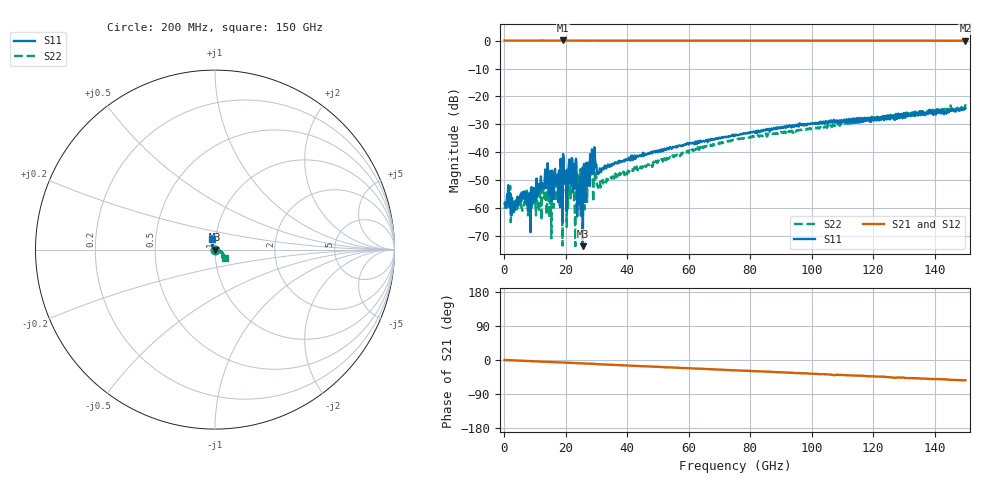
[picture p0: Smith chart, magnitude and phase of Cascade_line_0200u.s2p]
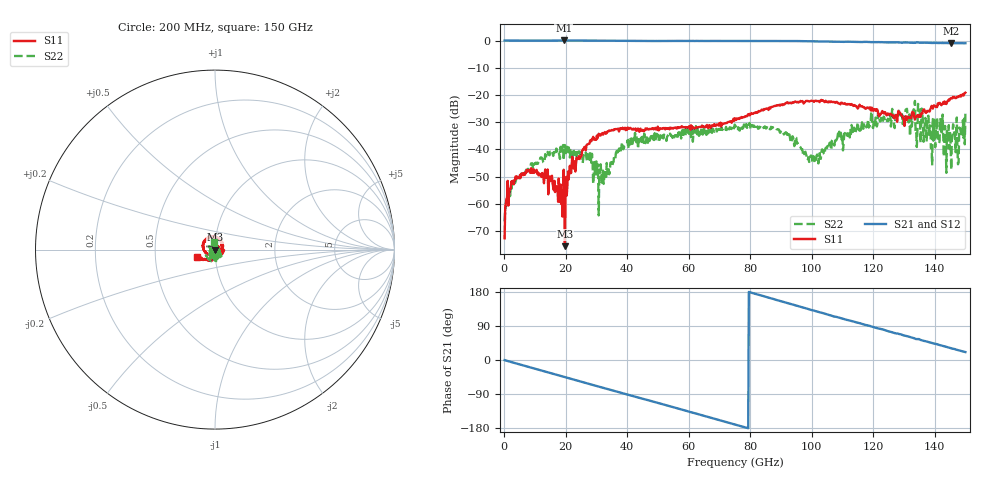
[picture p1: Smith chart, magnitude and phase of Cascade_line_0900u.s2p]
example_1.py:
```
"""
Example to demonstrate how to do mTRL calibration. This is a 2nd-tier mTRL calibration (aka de-embedding)
The .s2p files already went through a 1st-tier calibration.
"""
import os

# need to be installed via pip
import skrf as rf
import numpy as np
import matplotlib.pyplot as plt   # for plotting

# my script (MultiCal.py and TUGmTRL must also be in same folder)
from mTRL import mTRL

class PlotSettings:
    # to make plots look better for publication
    # https://matplotlib.org/stable/tutorials/introductory/customizing.html
    def __init__(self, font_size=10, latex=False): 
        self.font_size = font_size 
        self.latex = latex
    def __enter__(self):
        plt.style.use('seaborn-v0_8-paper')
        # make svg output text and not curves
        plt.rcParams['svg.fonttype'] = 'none'
        # fontsize of the axes title
        plt.rc('axes', titlesize=self.font_size*1.2)
        # fontsize of the x and y labels
        plt.rc('axes', labelsize=self.font_size)
        # fontsize of the tick labels
        plt.rc('xtick', labelsize=self.font_size)
        plt.rc('ytick', labelsize=self.font_size)
        # legend fontsize
        plt.rc('legend', fontsize=self.font_size*1)
        # fontsize of the figure title
        plt.rc('figure', titlesize=self.font_size)
        # controls default text sizes
        plt.rc('text', usetex=self.latex)
        #plt.rc('font', size=self.font_size, family='serif', serif='Times New Roman')
        plt.rc('lines', linewidth=1.5)
    def __exit__(self, exception_type, exception_value, traceback):
        plt.style.use('default')

def plot_2x2(NW, fig, axs, f_units='ghz', name='mTRL', title='mTRL'):
    NW.frequency.unit = f_units
    NW.name = name
    for inx in NW.port_tuples:
        m = inx[0]
        n = inx[1]
        NW.plot_s_db(m=m, n=n, ax=axs[inx])
    fig.suptitle(title)
    fig.tight_layout(pad=1.08)

# main script
if __name__ == '__main__':
    # useful functions
    c0 = 299792458   # speed of light in vacuum (m/s)
    mag2db = lambda x: 20*np.log10(abs(x))
    db2mag = lambda x: 10**(x/20)
    gamma2ereff = lambda x,f: -(c0/2/np.pi/f*x)**2
    ereff2gamma = lambda x,f: 2*np.pi*f/c0*np.sqrt(-(x-1j*np.finfo(complex).eps))  # eps to ensure positive square-root
    gamma2dbmm  = lambda x: mag2db(np.exp(x.real*1e-3))  # losses dB/mm
    # load the measurements
    # files' path are reference to script's path
    s2p_path = os.path.dirname(os.path.realpath(__file__)) + '\\s2p_example_1\\'
    
    # Calibration standards
    L1    = rf.Network(s2p_path + 'Cascade_line_0200u.s2p')
    L2    = rf.Network(s2p_path + 'Cascade_line_0450u.s2p')
    L3    = rf.Network(s2p_path + 'Cascade_line_0900u.s2p')
    L4    = rf.Network(s2p_path + 'Cascade_line_1800u.s2p')
    L5    = rf.Network(s2p_path + 'Cascade_line_3500u.s2p')
    L6    = rf.Network(s2p_path + 'Cascade_line_5250u.s2p') # used as well as DUT
    SHORT = rf.Network(s2p_path + 'Cascade_short.s2p')
    
    lines = [L1, L2, L3, L4, L5, L6]
    line_lengths = [200e-6, 450e-6, 900e-6, 1800e-6, 3500e-6, 5250e-6]
    reflect = [SHORT]
    reflect_est = [-1]
    reflect_offset = [0]
    
    cal = mTRL(lines=lines, line_lengths=line_lengths, reflect=reflect, 
               reflect_est=reflect_est, reflect_offset=reflect_offset, ereff_est=5+0j)
    
    DUT = L6
    # using NIST MultiCal
    cal.run_multical()
    dut_cal_nist = cal.apply_cal(DUT)
    gamma_mul = cal.gamma
    ereff_mul = cal.ereff
    
    # using TUG mTRL
    cal.run_tug()
    dut_cal_tug = cal.apply_cal(DUT)
    gamma_tug = cal.gamma
    ereff_tug = cal.ereff
    
    # using skrf 
    line_lengths = line_lengths
    offset = line_lengths[0]
    line_lengths = [i - offset for i in line_lengths]  # to set the reference the same as my code
    measured = [L1, SHORT, L2, L3, L4, L5, L6]
    cal_skrf = rf.NISTMultilineTRL(
        measured = measured,
        Grefls = [-1],
        l = line_lengths,
        er_est = 5+0j,
    )
    cal_skrf.run()
    dut_cal_skrf = cal_skrf.apply_cal(DUT)
    gamma_skrf = cal_skrf.gamma
    ereff_skrf = cal_skrf.er_eff

    with PlotSettings(14):
        fig, axs = plt.subplots(2,2, figsize=(10,7))
        fig.set_dpi(600)
        plot_2x2(dut_cal_nist, fig, axs, name='NIST MultiCal', title='Calibrated DUT (Line)')
        plot_2x2(dut_cal_tug, fig, axs, name='TUG mTRL', title='Calibrated DUT (Line)')
        plot_2x2(dut_cal_skrf, fig, axs, name='skrf', title='Calibrated DUT (Line)')

    f = L1.frequency.f
    with PlotSettings(14):
        fig, axs = plt.subplots(1,2, figsize=(10,3.8))        
        fig.set_dpi(600)
        fig.tight_layout(pad=2)
        ax = axs[0]
        ax.plot(f*1e-9, ereff_mul.real, lw=2, label='NIST MultiCal', 
                marker='^', markevery=50, markersize=10)
        ax.plot(f*1e-9, ereff_tug.real, lw=2, label='TUG mTRL', 
                marker='v', markevery=50, markersize=10)
        ax.plot(f*1e-9, ereff_skrf.real, lw=2, label='skrf', 
                marker='>', markevery=50, markersize=10)
        ax.set_xlabel('Frequency (GHz)')
        ax.set_ylabel('Relative effective permittivity')
        ax.set_ylim([4.5, 6])
        ax.set_yticks(np.arange(4.5, 6.01, 0.3))
        ax.set_xlim(0,150)
        ax.set_xticks(np.arange(0,151,30))
        ax.legend()
        ax = axs[1]
        ax.plot(f*1e-9, gamma2dbmm(gamma_mul), lw=2, label='NIST MultiCal', 
                marker='^', markevery=50, markersize=10)
        ax.plot(f*1e-9, gamma2dbmm(gamma_tug), lw=2, label='TUG mTRL', 
                marker='v', markevery=50, markersize=10)
        ax.plot(f*1e-9, gamma2dbmm(gamma_skrf), lw=2, label='skrf', 
                marker='>', markevery=50, markersize=10)
        ax.set_xlabel('Frequency (GHz)')
        ax.set_ylabel('Loss (dB/mm)')
        ax.set_ylim([0, 1.5])
        ax.set_yticks(np.arange(0, 1.51, 0.3))
        ax.set_xlim(0,150)
        ax.set_xticks(np.arange(0,151,30))
        ax.legend()
    
    plt.show()
    
# EOF
```
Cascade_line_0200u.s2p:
!  2-Port S-parameters saved by WinCal
! VAR MeasName=S-Parameters (CALIBRATED_DATA) read from VNA (MS4647B)
! VAR MeasDate=16-Sep-21 11:50:06
! VAR NAME=1ps_200u
! VAR FILENAME=1ps_200u.S2P
! VAR DATE=16-Sep-21 11:50:06
! VAR PHYS_PORTS=1,2
! VAR ObjTypeName=DATASET
! VAR IndexType=Frequency
# Hz S RI R 50
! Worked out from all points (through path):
!   750 points, 200 MHz to 150 GHz, reference 50 ohm
!   highest |S21| = 0.03 dB at 19.2 GHz (marker M1); lowest = -0.1 dB at 150 GHz (marker M2)
!   group delay of S21, straight-line fit = 1 ps
!   lowest |S11| = -73.5 dB at 25.6 GHz (marker M3), VSWR 1.00, Z = 50 - j0.00162 ohm
!   |S11| at or under -10 dB: start of sweep to end of sweep
!   |S22| runs from -73.5 to -22.8 dB; largest |S21 - S12| = 0.045
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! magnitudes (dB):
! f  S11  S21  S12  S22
! 200 MHz  -58.3  0.0  0.0  -60.2
! 8 GHz  -57.9  0.0  0.0  -60.4
! 13 GHz  -52.8  0.0  0.0  -52.7
! 15.2 GHz  -46.6  0.0  0.0  -54.3
! 17.6 GHz  -57.8  0.0  0.0  -49.9
! 19.2 GHz  -40.6  0.0  0.0  -44.0
! 25.6 GHz  -73.5  0.0  0.0  -54.0
! 29.2 GHz  -47.6  0.0  0.0  -45.7
! 31 GHz  -47.3  0.0  0.0  -50.2
! 75.2 GHz  -33.6  0.0  0.0  -35.5
! 150 GHz  -24.1  -0.1  -0.1  -22.8
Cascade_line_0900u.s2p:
!  2-Port S-parameters saved by WinCal
! VAR MeasName=S-Parameters (CALIBRATED_DATA) read from VNA (MS4647B)
! VAR MeasDate=16-Sep-21 11:37:52
! VAR NAME=7ps_900u
! VAR FILENAME=7ps_900u.S2P
! VAR DATE=16-Sep-21 11:37:52
! VAR PHYS_PORTS=1,2
! VAR ObjTypeName=DATASET
! VAR IndexType=Frequency
# Hz S RI R 50
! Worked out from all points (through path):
!   750 points, 200 MHz to 150 GHz, reference 50 ohm
!   highest |S21| = 0.02 dB at 19.4 GHz (marker M1); lowest = -1.0 dB at 145.4 GHz (marker M2)
!   group delay of S21, straight-line fit = 6.3 ps
!   lowest |S11| = -75.6 dB at 19.8 GHz (marker M3), VSWR 1.00, Z = 50 + j0.00275 ohm
!   |S11| at or under -10 dB: start of sweep to end of sweep
!   |S22| runs from -66.5 to -22.2 dB; largest |S21 - S12| = 0.037
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2e8  0.000231 1.05e-05  0.9999 -0.00702  0.9993 -0.00768  0.000364 0.000302
7.6e9  0.00349 0.00179  0.951 -0.2961  0.9518 -0.2957  0.00406 -3.35e-05
1.94e10  -0.00292 0.00303  0.7212 -0.6964  0.7225 -0.6972  0.00308 -0.00545
1.98e10  0.000163 2.75e-05  0.7089 -0.7083  0.7106 -0.7088  0.005 -0.0109
3.14e10  0.0011 0.018  0.3114 -0.9388  0.308 -0.9412  0.00307 -0.00434
7.52e10  -0.0166 -0.0311  -0.9695 -0.164  -0.9691 -0.1537  -0.00762 -0.0262
1.008e11  -0.0441 0.0603  -0.6282 0.7387  -0.6146 0.7483  -0.000145 0.00711
1.11e11  0.00539 0.0674  -0.2777 0.9072  -0.2651 0.9122  0.0159 -0.00783
1.33e11  0.0163 -0.0439  0.4761 0.7684  0.4917 0.7569  0.0163 -0.0491
1.454e11  -0.0658 -0.0583  0.7632 0.4552  0.7772 0.4487  -0.00406 0.00105
1.5e11  -0.102 -0.0412  0.8327 0.3187  0.8359 0.304  -0.00519 0.0448
